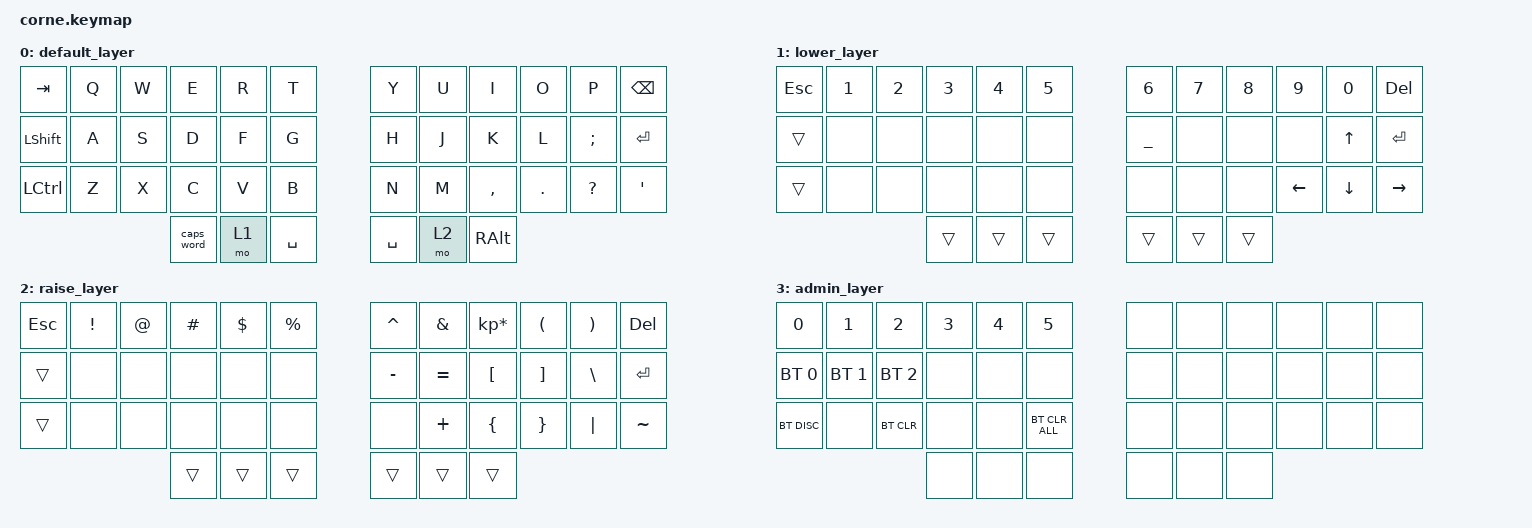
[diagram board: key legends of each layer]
/*
 * Copyright (c) 2020 The ZMK Contributors
 *
 * SPDX-License-Identifier: MIT
 */

#include <behaviors.dtsi>
#include <dt-bindings/zmk/keys.h>
#include <dt-bindings/zmk/bt.h>

/ {
        keymap {
                compatible = "zmk,keymap";
                default_layer {
                        bindings = <
   &kp TAB   &kp Q &kp W &kp E &kp R &kp T   &kp Y &kp U  &kp I     &kp O    &kp P        &kp BSPC
   &kp LSHFT &kp A &kp S &kp D &kp F &kp G   &kp H &kp J  &kp K     &kp L    &kp SEMI     &kp RET
   &kp LCTRL &kp Z &kp X &kp C &kp V &kp B   &kp N &kp M  &kp COMMA &kp DOT &kp QUESTION  &kp SQT
                &caps_word &mo 1 &kp SPACE   &kp SPACE &mo 2 &kp RALT
                        >;
                };
                lower_layer {
                        bindings = <
   &kp ESC   &kp N1 &kp N2 &kp N3  &kp N4 &kp N5     &kp N6     &kp N7 &kp N8 &kp N9   &kp N0   &kp DEL
   &trans    &none  &none  &none   &none  &none      &kp UNDER  &none  &none  &none    &kp UP   &kp RET 
   &trans    &none  &none  &none   &none  &none      &none      &none  &none  &kp LEFT &kp DOWN &kp RIGHT
                          &trans  &trans &trans      &trans &trans &trans 
                        >;
                };

                raise_layer {
                        bindings = <
   &kp ESC   &kp EXCL &kp AT &kp HASH &kp DLLR &kp PRCNT   &kp CARET &kp AMPS  &kp KP_MULTIPLY &kp LPAR &kp RPAR &kp DEL
   &trans    &none    &none  &none    &none    &none       &kp MINUS &kp EQUAL &kp LBKT        &kp RBKT &kp BSLH &kp RET
   &trans    &none    &none  &none    &none    &none       &none     &kp PLUS  &kp LBRC        &kp RBRC &kp PIPE &kp TILDE
                             &trans   &trans   &trans      &trans    &trans    &trans 
                        >;
                };

                admin_layer {
                        bindings = <
   &kp N0       &kp N1       &kp N2       &kp N3 &kp N4  &kp N5            &none &none &none &none &none &none
   &bt BT_SEL 0 &bt BT_SEL 1 &bt BT_SEL 2 &none  &none   &none             &none &none &none &none &none &none
   &bt BT_DISC  &none        &bt BT_CLR   &none  &none   &bt BT_CLR_ALL    &none &none &none &none &none &none
                                          &none  &none   &none             &none &none &none 
                        >;
                };
        };
};

/ {
    conditional_layers {
        compatible = "zmk,conditional-layers";
        tri_layer {
            if-layers = <1 2>;
            then-layer = <3>;
        };
    };
};
